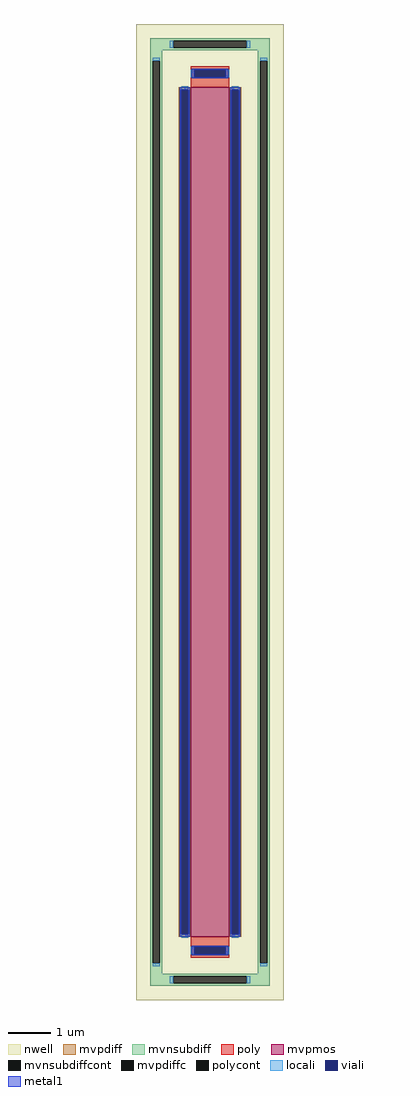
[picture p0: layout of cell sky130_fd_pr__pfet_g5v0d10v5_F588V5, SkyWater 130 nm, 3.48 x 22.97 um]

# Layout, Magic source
magic
tech sky130A
magscale 1 2
<< nwell >>
rect -348 -2297 348 2297
<< mvpmos >>
rect -90 -2000 90 2000
<< mvpdiff >>
rect -148 1988 -90 2000
rect -148 -1988 -136 1988
rect -102 -1988 -90 1988
rect -148 -2000 -90 -1988
rect 90 1988 148 2000
rect 90 -1988 102 1988
rect 136 -1988 148 1988
rect 90 -2000 148 -1988
<< mvpdiffc >>
rect -136 -1988 -102 1988
rect 102 -1988 136 1988
<< mvnsubdiff >>
rect -282 2219 282 2231
rect -282 2185 -174 2219
rect 174 2185 282 2219
rect -282 2173 282 2185
rect -282 2123 -224 2173
rect -282 -2123 -270 2123
rect -236 -2123 -224 2123
rect 224 2123 282 2173
rect -282 -2173 -224 -2123
rect 224 -2123 236 2123
rect 270 -2123 282 2123
rect 224 -2173 282 -2123
rect -282 -2185 282 -2173
rect -282 -2219 -174 -2185
rect 174 -2219 282 -2185
rect -282 -2231 282 -2219
<< mvnsubdiffcont >>
rect -174 2185 174 2219
rect -270 -2123 -236 2123
rect 236 -2123 270 2123
rect -174 -2219 174 -2185
<< poly >>
rect -90 2081 90 2097
rect -90 2047 -74 2081
rect 74 2047 90 2081
rect -90 2000 90 2047
rect -90 -2047 90 -2000
rect -90 -2081 -74 -2047
rect 74 -2081 90 -2047
rect -90 -2097 90 -2081
<< polycont >>
rect -74 2047 74 2081
rect -74 -2081 74 -2047
<< locali >>
rect -190 2185 -174 2219
rect 174 2185 190 2219
rect -270 2123 -236 2139
rect 236 2123 270 2139
rect -90 2047 -74 2081
rect 74 2047 90 2081
rect -136 1988 -102 2004
rect -136 -2004 -102 -1988
rect 102 1988 136 2004
rect 102 -2004 136 -1988
rect -90 -2081 -74 -2047
rect 74 -2081 90 -2047
rect -270 -2139 -236 -2123
rect 236 -2139 270 -2123
rect -190 -2219 -174 -2185
rect 174 -2219 190 -2185
<< viali >>
rect -74 2047 74 2081
rect -136 -1988 -102 1988
rect 102 -1988 136 1988
rect -74 -2081 74 -2047
<< metal1 >>
rect -86 2081 86 2087
rect -86 2047 -74 2081
rect 74 2047 86 2081
rect -86 2041 86 2047
rect -142 1988 -96 2000
rect -142 -1988 -136 1988
rect -102 -1988 -96 1988
rect -142 -2000 -96 -1988
rect 96 1988 142 2000
rect 96 -1988 102 1988
rect 136 -1988 142 1988
rect 96 -2000 142 -1988
rect -86 -2047 86 -2041
rect -86 -2081 -74 -2047
rect 74 -2081 86 -2047
rect -86 -2087 86 -2081
<< properties >>
string FIXED_BBOX -253 -2202 253 2202
string gencell sky130_fd_pr__pfet_g5v0d10v5
string library sky130
string parameters w 20.0 l 0.9 m 1 nf 1 diffcov 100 polycov 100 guard 1 glc 1 grc 1 gtc 1 gbc 1 tbcov 100 rlcov 100 topc 1 botc 1 poverlap 0 doverlap 1 lmin 0.50 wmin 0.42 class mosfet compatible {sky130_fd_pr__pfet_01v8  sky130_fd_pr__pfet_01v8_lvt sky130_fd_pr__pfet_01v8_hvt  sky130_fd_pr__pfet_g5v0d10v5} full_metal 0 viasrc 100 viadrn 100 viagate 100 viagb 0 viagr 0 viagl 0 viagt 0
<< end >>
